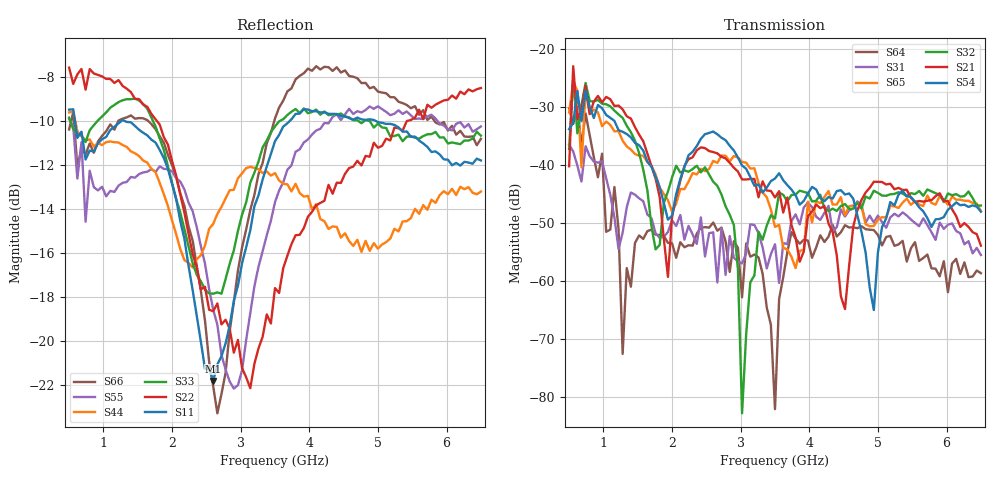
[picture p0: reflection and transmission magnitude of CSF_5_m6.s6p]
!Keysight Technologies,M9804A,MY58100912,A.14.10.03
!Date: Thursday, April 27, 2023 10:28:33
!Correction: S11(C  6-Port  )
!S12(C  6-Port  )
!S13(C  6-Port  )
!S14(C  6-Port  )
!S15(C  6-Port  )
!S16(C  6-Port  )
!S21(C  6-Port  )
!S22(C  6-Port  )
!S23(C  6-Port  )
!S24(C  6-Port  )
!S25(C  6-Port  )
!S26(C  6-Port  )
!S31(C  6-Port  )
!S32(C  6-Port  )
!S33(C  6-Port  )
!S34(C  6-Port  )
!S35(C  6-Port  )
!S36(C  6-Port  )
!S41(C  6-Port  )
!S42(C  6-Port  )
!S43(C  6-Port  )
!S44(C  6-Port  )
!S45(C  6-Port  )
!S46(C  6-Port  )
!S51(C  6-Port  )
!S52(C  6-Port  )
!S53(C  6-Port  )
!S54(C  6-Port  )
!S55(C  6-Port  )
!S56(C  6-Port  )
!S61(C  6-Port  )
!S62(C  6-Port  )
!S63(C  6-Port  )
!S64(C  6-Port  )
!S65(C  6-Port  )
!S66(C  6-Port  )
!S6P File: Measurement: :
# Hz S  RI  R 50
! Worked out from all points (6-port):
!   101 points, 500 MHz to 6.5 GHz, reference 50 ohm
!   strongest paths, dB at 500 MHz, 2 GHz, 3.5 GHz, 5 GHz, 6.5 GHz:
!     S54: -33.7, -48.7, -42.3, -55.0, -48.0
!     S21: -40.2, -48.9, -45.5, -42.9, -53.9
!     S32: -37.2, -42.1, -49.2, -44.8, -46.9
!     S65: -30.9, -48.0, -50.6, -49.3, -47.9
!     S31: -36.4, -49.5, -53.6, -48.7, -55.5
!     S64: -30.2, -53.5, -82.1, -52.0, -58.6
!   lowest |S11| = -21.8 dB at 2.6 GHz (marker M1), VSWR 1.18, Z = 42.7 + j1.89 ohm
!   |S11| at or under -10 dB: 583.6 MHz to 1.27 GHz (686.3 MHz wide, 74 % of centre); 1.297 GHz to 3.722 GHz (2.424 GHz wide, 96.6 % of centre); 4.956 GHz to end of sweep
